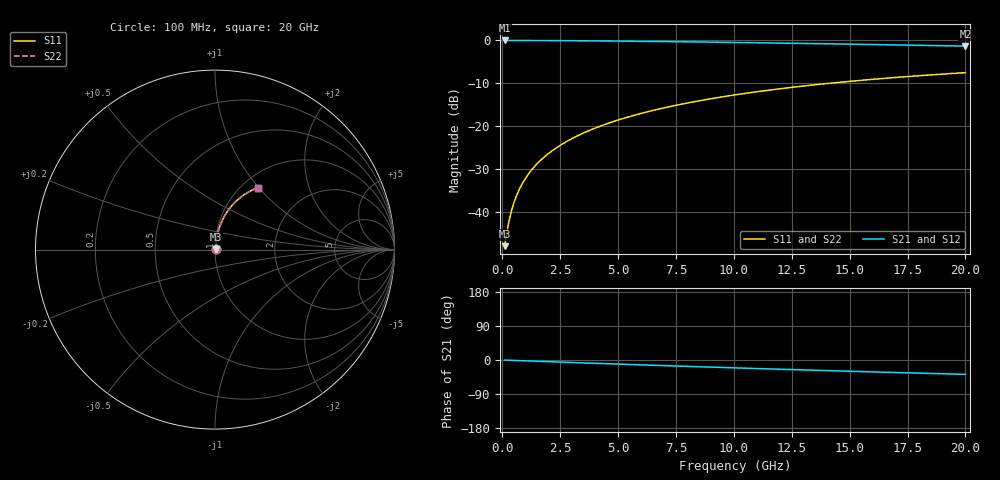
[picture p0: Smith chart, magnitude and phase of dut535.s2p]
! Touchstone file exported from HFSS 2024.1.0
!  File:  C:/UserFiles/LocalFiles/RDL_TSV_Batchsim/temp_RDL_top_535_1779680363.aedt
!  Generated:  11:41:23 AM May 25, 2026
!  Design:  RDL_top
!  Project:  temp_RDL_top_535_1779680363
!  Setup:  Setup1
!  Solution:  Sweep
! Variables:
!  dtsv = 10.80580581um
!  hbump = 3um
!  htsv = 86.73um
!  ldown = 100um
!  lrdl = 498.36um
!  p = 40
!  p1 = 47.09um
!  rhole = 1um
!  t = 450um
!  tdown = 3.915915916um
!  trdl = 4.55um
!  wdown = 15.38538539um
!  wrdl = 12.72um
# GHz S MA R 50.000000
! Terminal data exported
! Port[1] = Box2_T1
! Port[2] = Box2_T2
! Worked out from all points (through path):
!   200 points, 100 MHz to 20 GHz, reference 50 ohm
!   highest |S21| = -0.03 dB at 100 MHz (marker M1); lowest = -1.3 dB at 20 GHz (marker M2)
!   group delay of S21, straight-line fit = 5.26 ps
!   lowest |S11| = -48.0 dB at 100 MHz (marker M3), VSWR 1.01, Z = 50.3 + j0.248 ohm
!   |S11| at or under -10 dB: start of sweep to 14.16 GHz
!   |S22| runs from -48.0 to -7.5 dB; largest |S21 - S12| = 4e-15
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0.1  0.003982 38.3  0.9969 -0.2  0.9969 -0.2  0.003982 38.3
! Gamma 0 0 0 0
! Port Impedance 50 0 50 0
0.2  0.005856 57.4  0.9968 -0.5  0.9968 -0.5  0.005854 57.4
0.3  0.008054 66.6  0.9967 -0.7  0.9967 -0.7  0.008051 66.6
0.4  0.01036 71.6  0.9966 -0.9  0.9966 -0.9  0.01036 71.6
0.5  0.01272 74.7  0.9965 -1.1  0.9965 -1.1  0.01271 74.7
0.6  0.01509 76.7  0.9963 -1.3  0.9963 -1.3  0.01508 76.7
0.8  0.01984 79.1  0.9961 -1.8  0.9961 -1.8  0.01983 79.2
1.1  0.02693 80.8  0.9956 -2.4  0.9956 -2.4  0.02693 80.9
1.5  0.03634 81.8  0.9949 -3.3  0.9949 -3.3  0.03633 81.8
1.8  0.04335 82.0  0.9942 -4.0  0.9942 -4.0  0.04335 82.0
2.1  0.05036 82.1  0.9934 -4.6  0.9934 -4.6  0.05036 82.1
2.7  0.06435 81.9  0.9915 -5.9  0.9915 -5.9  0.06434 81.9
3.5  0.08297 81.2  0.9883 -7.7  0.9883 -7.7  0.08296 81.2
4.2  0.09922 80.4  0.9851 -9.1  0.9851 -9.1  0.09921 80.4
5  0.1177 79.3  0.9808 -10.8  0.9808 -10.8  0.1177 79.3
5.9  0.1385 78.1  0.9755 -12.7  0.9755 -12.7  0.1384 78.0
6.8  0.159 76.7  0.9696 -14.5  0.9696 -14.5  0.159 76.6
8.3  0.1928 74.3  0.959 -17.5  0.959 -17.5  0.1927 74.3
10.1  0.2324 71.4  0.945 -20.9  0.945 -20.9  0.2323 71.3
13.4  0.3013 65.9  0.9169 -26.9  0.9169 -26.9  0.3011 65.8
16.7  0.3641 60.5  0.887 -32.6  0.887 -32.6  0.3638 60.4
20  0.42 55.3  0.8564 -37.9  0.8564 -37.9  0.4197 55.2
